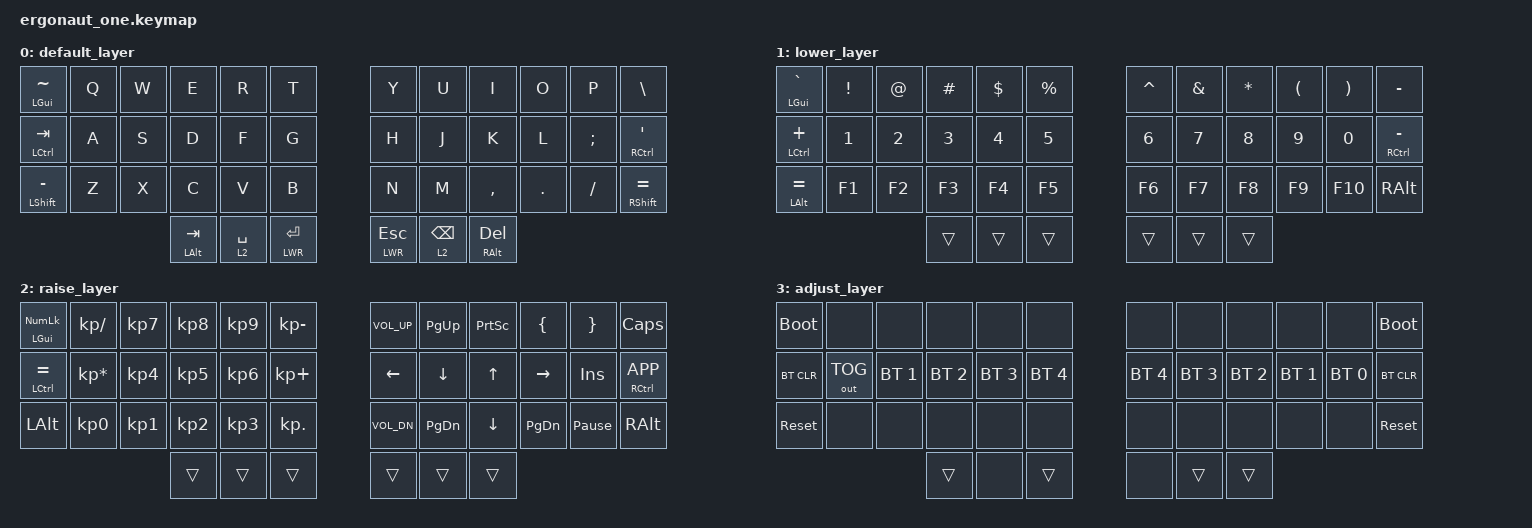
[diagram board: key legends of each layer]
#include <behaviors.dtsi>
#include <dt-bindings/zmk/bt.h>
#include <dt-bindings/zmk/keys.h>
#include <dt-bindings/zmk/outputs.h>

#define DEF 0
#define LWR 1
#define RSE 2
#define ADJ 3

&lt { quick-tap-ms = <200>; };

&mt { quick-tap-ms = <200>; };

/ {
    conditional_layers {
        compatible = "zmk,conditional-layers";

        tri-layer {
            if-layers = <1 2>;
            then-layer = <3>;
        };
    };

    keymap {
        compatible = "zmk,keymap";

        default_layer {
            bindings = <
&mt LGUI TILDE        &kp Q  &kp W  &kp E             &kp R        &kp T        &kp Y        &kp U       &kp I              &kp O    &kp P     &kp BACKSLASH
&mt LCTRL TAB         &kp A  &kp S  &kp D             &kp F        &kp G        &kp H        &kp J       &kp K              &kp L    &kp SEMI  &mt RCTRL SQT
&mt LEFT_SHIFT MINUS  &kp Z  &kp X  &kp C             &kp V        &kp B        &kp N        &kp M       &kp COMMA          &kp DOT  &kp FSLH  &mt RIGHT_SHIFT EQUAL
                                    &mt LEFT_ALT TAB  &lt 2 SPACE  &lt LWR RET  &lt LWR ESC  &lt 2 BSPC  &mt RIGHT_ALT DEL
            >;
        };

        lower_layer {
            bindings = <
&mt LGUI GRAVE  &kp EXCLAMATION  &kp AT_SIGN   &kp HASH      &kp DOLLAR    &kp PERCENT  &kp CARET     &kp AMPERSAND  &kp ASTERISK  &kp LEFT_PARENTHESIS  &kp RIGHT_PARENTHESIS  &kp MINUS
&mt LCTRL PLUS  &kp NUMBER_1     &kp NUMBER_2  &kp NUMBER_3  &kp NUMBER_4  &kp N5       &kp NUMBER_6  &kp N7         &kp N8        &kp N9                &kp N0                 &mt RCTRL MINUS
&mt LALT EQUAL  &kp F1           &kp F2        &kp F3        &kp F4        &kp F5       &kp F6        &kp F7         &kp F8        &kp F9                &kp F10                &kp RALT
                                               &trans        &trans        &trans       &trans        &trans         &trans
            >;
        };

        raise_layer {
            bindings = <
&mt LGUI KP_NUM  &kp KP_SLASH     &kp KP_N7  &kp KP_N8  &kp KP_N9  &kp KP_MINUS  &kp C_VOL_UP  &kp PG_UP  &kp PSCRN  &kp LEFT_BRACE  &kp RIGHT_BRACE  &kp CLCK
&mt LCTRL EQUAL  &kp KP_MULTIPLY  &kp KP_N4  &kp KP_N5  &kp KP_N6  &kp KP_PLUS   &kp LEFT      &kp DOWN   &kp UP     &kp RIGHT       &kp INS          &mt RCTRL K_APP
&kp LALT         &kp KP_N0        &kp KP_N1  &kp KP_N2  &kp KP_N3  &kp KP_DOT    &kp C_VOL_DN  &kp PG_DN  &kp DOWN   &kp PG_DN       &kp PAUSE_BREAK  &kp RALT
                                             &trans     &trans     &trans        &trans        &trans     &trans
            >;
        };

        adjust_layer {
            bindings = <
&bootloader  &none         &none         &none         &none         &none         &none         &none         &none         &none         &none         &bootloader
&bt BT_CLR   &out OUT_TOG  &bt BT_SEL 1  &bt BT_SEL 2  &bt BT_SEL 3  &bt BT_SEL 4  &bt BT_SEL 4  &bt BT_SEL 3  &bt BT_SEL 2  &bt BT_SEL 1  &bt BT_SEL 0  &bt BT_CLR
&sys_reset   &none         &none         &none         &none         &none         &none         &none         &none         &none         &none         &sys_reset
                                         &trans        &none         &trans        &none         &trans        &trans
            >;
        };
    };
};
